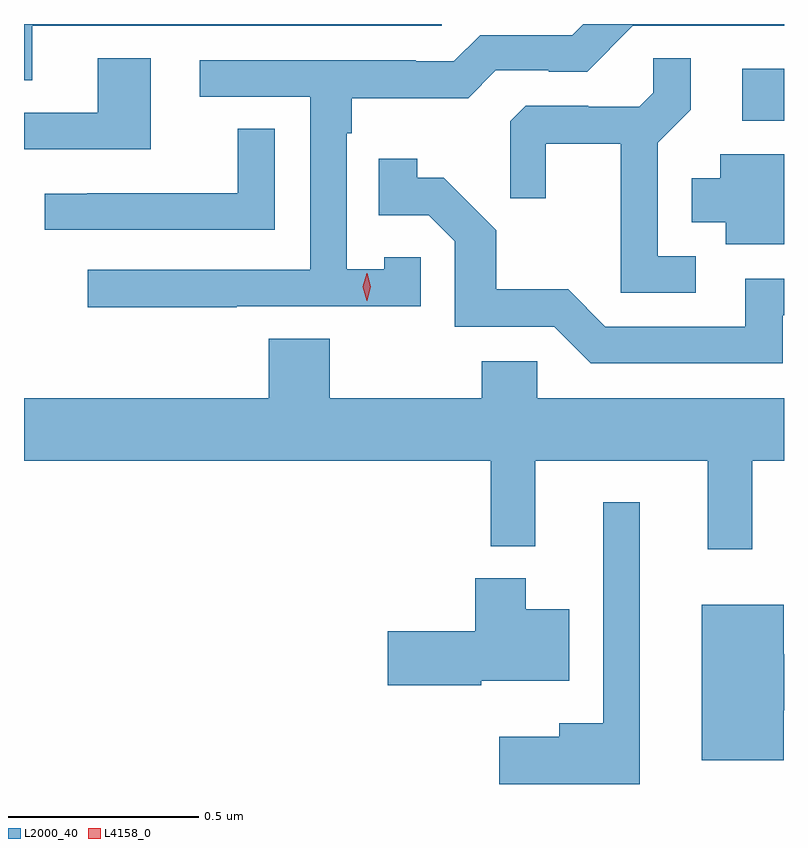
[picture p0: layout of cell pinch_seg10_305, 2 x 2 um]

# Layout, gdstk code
import gdstk
lib = gdstk.Library(unit=1e-6, precision=1e-09)
def R(c, l, rs):  # rectangles x0, y0, x1, y1
    for r in rs: c.add(gdstk.rectangle(r[:2], r[2:], *l))
def P(c, l, *ps):  # polygons
    for p in ps: c.add(gdstk.Polygon(p, *l))
L2000_40 = (2000, 40)
L4158_0 = (4158, 0)

pinch_seg10_305 = lib.new_cell('pinch_seg10_305')
R(pinch_seg10_305, L2000_40, [(494.163,1297.215,494.273,1297.351)])
P(pinch_seg10_305, L2000_40, [(492.295,1297.464),(493.372,1297.464),(493.372,1297.469),(492.273,1297.469),(492.273,1297.321),(492.295,1297.321)],
  [(492.833,1296.726),(493.317,1296.726),(493.317,1296.855),(493.221,1296.855),(493.221,1296.823),(493.122,1296.823),(493.122,1297.181),(493.135,1297.181),(493.135,1297.274),(493.442,1297.274),(493.515,1297.347),(493.654,1297.347),(493.654,1297.344),(493.755,1297.344),(493.875,1297.464),(494.273,1297.464),(494.273,1297.469),(493.745,1297.469),(493.716,1297.44),(493.473,1297.44),(493.404,1297.371),(493.304,1297.371),(493.304,1297.374),(492.735,1297.374),(492.735,1297.278),(493.026,1297.278),(493.026,1296.822),(492.441,1296.822),(492.441,1296.724),(492.833,1296.724)],
  [(492.607,1297.379),(492.467,1297.379),(492.467,1297.236),(492.273,1297.236),(492.273,1297.14),(492.607,1297.14)],
  [(494.041,1296.858),(493.941,1296.858),(493.941,1297.157),(494.027,1297.243),(494.027,1297.379),(493.929,1297.379),(493.929,1297.288),(493.892,1297.251),(493.758,1297.251),(493.758,1297.254),(493.593,1297.254),(493.552,1297.213),(493.552,1297.011),(493.646,1297.011),(493.646,1297.154),(493.844,1297.154),(493.844,1296.762),(494.041,1296.762)],
  [(492.933,1297.193),(492.835,1297.193),(492.835,1297.023),(492.439,1297.023),(492.439,1297.022),(492.327,1297.022),(492.327,1296.927),(492.933,1296.927)],
  [(494.273,1297.126),(494.105,1297.126),(494.105,1297.063),(494.03,1297.063),(494.03,1296.947),(494.12,1296.947),(494.12,1296.89),(494.273,1296.89)],
  [(494.27,1296.702),(494.273,1296.702),(494.273,1296.798),(494.171,1296.798),(494.171,1296.672),(493.803,1296.672),(493.705,1296.771),(493.516,1296.771),(493.516,1296.926),(493.378,1297.064),(493.308,1297.064),(493.308,1297.114),(493.207,1297.114),(493.207,1296.966),(493.338,1296.966),(493.407,1296.897),(493.407,1296.672),(493.668,1296.672),(493.764,1296.576),(494.27,1296.576)],
  [(493.477,1296.484),(493.077,1296.484),(493.077,1296.641),(492.917,1296.641),(492.917,1296.484),(492.273,1296.484),(492.273,1296.32),(493.501,1296.32),(493.501,1296.095),(493.619,1296.095),(493.619,1296.32),(494.072,1296.32),(494.072,1296.087),(494.189,1296.087),(494.189,1296.32),(494.273,1296.32),(494.273,1296.484),(493.623,1296.484),(493.623,1296.582),(493.477,1296.582)],
  [(493.894,1296.211),(493.797,1296.211),(493.797,1295.629),(493.682,1295.629),(493.682,1295.593),(493.523,1295.593),(493.523,1295.469),(493.894,1295.469)],
  [(493.476,1295.741),(493.708,1295.741),(493.708,1295.929),(493.594,1295.929),(493.594,1296.01),(493.46,1296.01),(493.46,1295.871),(493.23,1295.871),(493.23,1295.729),(493.476,1295.729)],
  [(494.272,1295.663),(494.273,1295.663),(494.273,1295.81),(494.272,1295.81),(494.272,1295.941),(494.057,1295.941),(494.057,1295.531),(494.272,1295.531)])
P(pinch_seg10_305, L4158_0, [(493.175,1296.741),(493.175,1296.741),(493.165,1296.777),(493.175,1296.813),(493.175,1296.813),(493.176,1296.813),(493.185,1296.777),(493.176,1296.741)])

lib.write_gds('pinch_seg10_305.gds')
